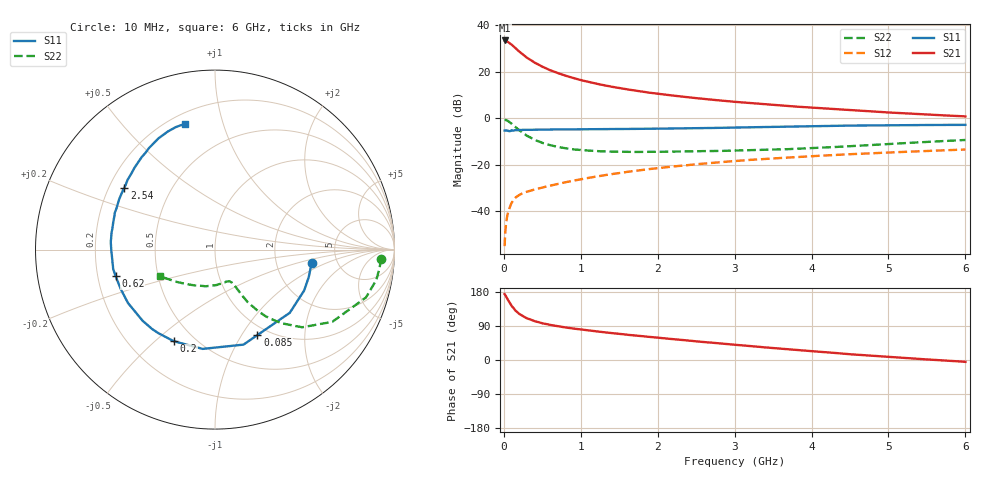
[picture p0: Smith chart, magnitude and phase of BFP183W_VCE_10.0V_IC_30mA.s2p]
! Infineon Technologies  Discrete & RF Semiconductors
! BFP183W
! VCE = 10.0V,  IC =  30 mA
! Common Emitter S-Parameters:  Jan 2016
# GHz  S  MA  R  50
!  f  S11  S21  S12  S22
! GHz  MAG  ANG  MAG  ANG  MAG  ANG  MAG  ANG
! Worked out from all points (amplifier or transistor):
!   210 points, 10 MHz to 6 GHz, reference 50 ohm
!   highest |S21| = 33.4 dB at 10 MHz (marker M1)
!   |S21| within 3 dB of that: start of sweep to 141.9 MHz
!   unconditionally stable (mu >= 1): 884.6 MHz to 5.236 GHz
!   at 185 MHz: K = 0.40, MSG = 31.2 dB, |S12| = -33.3 dB
!   at 1.52 GHz: K = 1.12, MAG = 16.0 dB, |S12| = -23.4 dB
!   at 6 GHz: K = 0.97, MSG = 7.1 dB, |S12| = -13.4 dB
!   S11 on the Smith chart (normalised r, x): 10 MHz: 3.23, -0.67; 85 MHz: 0.89, -1.18; 200 MHz: 0.39, -0.58; 620 MHz: 0.28, -0.12; 2.54 GHz: 0.26, +0.29; 6 GHz: 0.26, +0.76
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0.01  0.5441 -7.7  46.62 173.9  0.0018 72.6  0.9285 -3.1
0.02  0.5443 -16.5  46.28 171.0  0.0038 71.8  0.9211 -7.0
0.03  0.5464 -24.7  45.76 167.2  0.0057 76.9  0.9144 -10.7
0.05  0.5455 -40.2  43.97 159.4  0.0089 71.6  0.8823 -17.6
0.085  0.5315 -63.6  39.56 148.5  0.0133 63.1  0.7967 -27.0
0.1  0.5527 -73.3  38.18 143.1  0.0152 61.0  0.7675 -31.6
0.15  0.5575 -97.1  32.14 130.5  0.0198 53.8  0.6505 -41.7
0.2  0.5597 -114.2  26.95 121.6  0.0225 50.3  0.5531 -47.9
0.26  0.5644 -128.3  22.4 114.1  0.0252 47.9  0.4675 -52.7
0.3  0.5656 -135.5  19.88 109.9  0.0265 47.3  0.4213 -54.9
0.4  0.5688 -148.5  15.59 102.4  0.0297 47.5  0.3444 -58.1
0.5  0.5692 -157.3  12.77 96.9  0.0325 48.6  0.296 -59.5
0.62  0.5731 -165.1  10.46 92.0  0.0364 50.4  0.2599 -60.3
0.8  0.5753 -173.5  8.177 85.9  0.0423 53.0  0.2269 -61.4
1.02  0.579 178.8  6.464 80.0  0.0497 55.0  0.2067 -62.9
1.4  0.5835 168.7  4.749 71.0  0.0632 56.4  0.1925 -66.6
2.02  0.5978 155.3  3.322 58.5  0.0857 55.8  0.1902 -76.0
2.54  0.6115 145.7  2.658 48.6  0.1043 53.4  0.196 -85.4
3.1  0.6344 136.1  2.186 38.6  0.1242 50.0  0.2042 -97.6
4.1  0.6781 121.8  1.651 21.8  0.1564 43.5  0.2325 -121.4
5.1  0.71 110.9  1.303 6.9  0.1867 36.8  0.2858 -141.9
6  0.7206 103.5  1.095 -4.9  0.2132 31.2  0.3416 -154.7
